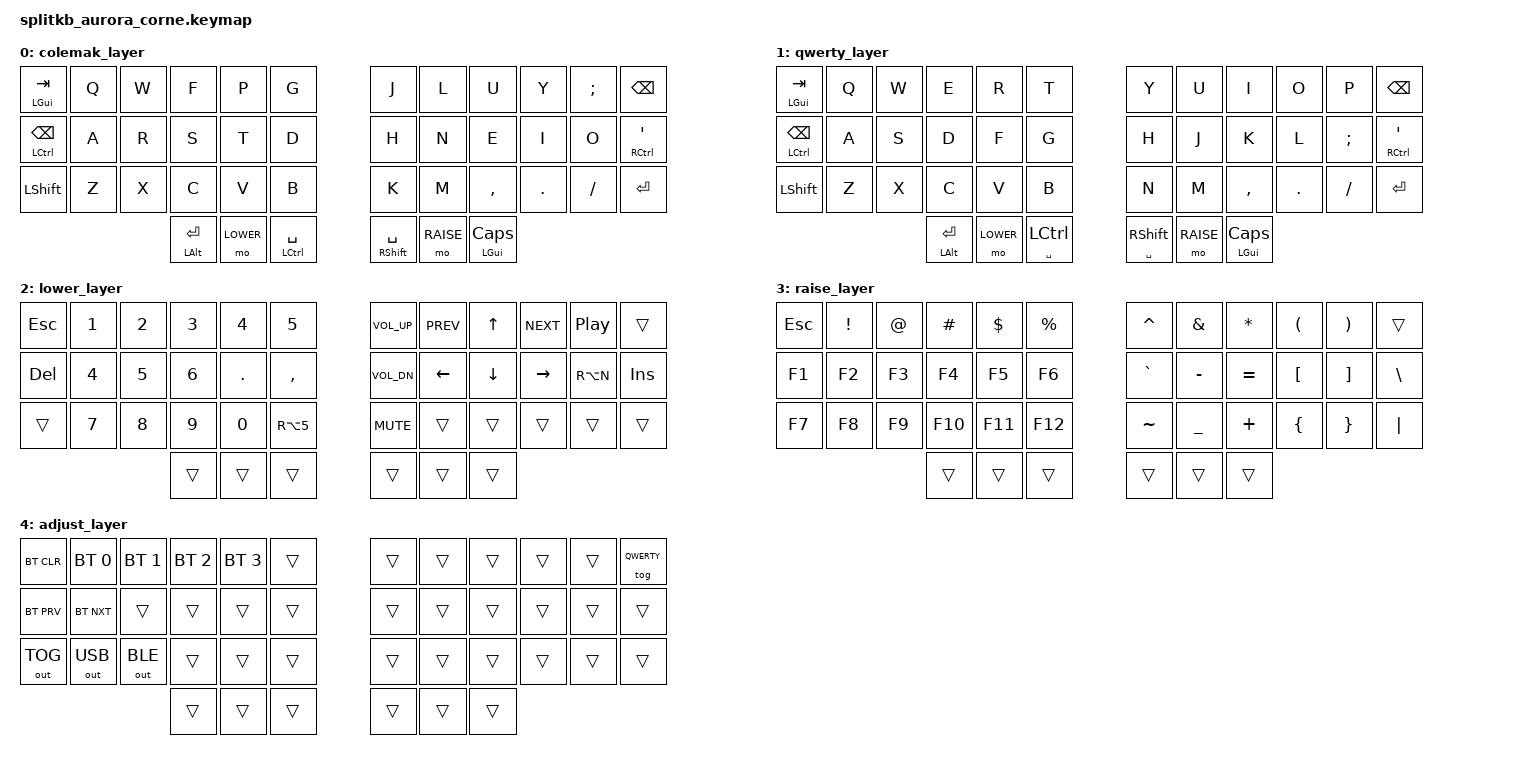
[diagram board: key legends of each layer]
/*
 * Copyright (c) 2020 The ZMK Contributors
 *
 * SPDX-License-Identifier: MIT
 *
 * Author: javioroz
 *
 */

#include <behaviors.dtsi>
#include <dt-bindings/zmk/keys.h>
#include <dt-bindings/zmk/bt.h>
#include <dt-bindings/zmk/outputs.h>
// #include <dt-bindings/zmk/ext_power.h>

#define ___ &trans
#define COLEMAK 0 
#define QWERTY 1
#define LOWER 2
#define RAISE 3
#define ADJUST 4

/ {
   behaviors {
        bhm: balanced_homerow_mods {
            compatible = "zmk,behavior-hold-tap";
            label = "HOMEROW_MODS";
            #binding-cells = <2>;
            tapping-term-ms = <500>;    // <---[[moderate duration]]
            quick-tap-ms = <0>;
            flavor = "balanced";        // <--- also "tap-preferred"
            bindings = <&kp>, <&kp>;
        };
    };

    conditional_layers {
        compatible = "zmk,conditional-layers";
        adjust_layer {
            if-layers = <LOWER RAISE>;
            then-layer = <ADJUST>;
        };
    };
    
    keymap {
        compatible = "zmk,keymap";
        
        colemak_layer {
            bindings = <
// ┌─────────┬─────────┬─────────┬─────────┬─────────┬─────────┐   ┌─────────┬─────────┬─────────┬─────────┬─────────┬─────────┐ 
// |   TAB   |    Q    |    W    |    F    |    P    |    G    |   |    J    |    L    |    U    |    Y    |    ;    |   BSPC  |
&mt LGUI TAB   &kp Q     &kp W     &kp F     &kp P     &kp G         &kp J     &kp L     &kp U     &kp Y     &kp SEMI   &kp BSPC
// ├─────────┼─────────┼─────────┼─────────┼─────────┼─────────┤   ├─────────┼─────────┼─────────┼─────────┼─────────┼─────────┤ 
// |  BSPC   |    A    |    R    |    S    |    T    |    D    |   |    H    |    N    |    E    |    I    |    O    |    '    |
&mt LCTRL BSPC &kp A     &kp R     &kp S     &kp T     &kp D         &kp H     &kp N     &kp E     &kp I     &kp O  &mt RCTRL SQT
// ├─────────┼─────────┼─────────┼─────────┼─────────┼─────────┤   ├─────────┼─────────┼─────────┼─────────┼─────────┼─────────┤ 
// |  LSHFT  |    Z    |    X    |    C    |    V    |    B    |   |    K    |    M    |    ,    |    .    |    /    | ENTER   |
   &kp LSHFT  &kp Z      &kp X     &kp C     &kp V     &kp B        &kp K     &kp M     &kp COMMA  &kp DOT   &kp FSLH   &kp  RET
// └─────────┴─────────┼─────────┴───┬─────┴──────┬──┴─────────┤   ├─────────┴──┬──────┴─────┬───┴─────────┼─────────┴─────────┘ 
                        &mt LALT RET  &mo LOWER  &bhm LCTRL SPACE  &mt RSHFT SPACE &mo RAISE  &mt LGUI CAPS
//                     └─────────────┴────────────┴────────────┘   └────────────┴────────────┴─────────────┘
            >;
        };
        
        qwerty_layer {
            bindings = <
// ┌─────────┬─────────┬─────────┬─────────┬─────────┬─────────┐   ┌─────────┬─────────┬─────────┬─────────┬─────────┬─────────┐ 
// |   TAB   |    Q    |    W    |    E    |    R    |    T    |   |    Y    |    U    |    I    |    O    |    P    |   BSPC  |
&mt LGUI TAB   &kp Q     &kp W     &kp E     &kp R     &kp T         &kp Y     &kp U     &kp I     &kp O     &kp P     &kp BSPC
// ├─────────┼─────────┼─────────┼─────────┼─────────┼─────────┤   ├─────────┼─────────┼─────────┼─────────┼─────────┼─────────┤ 
// |  BSPC   |    A    |    S    |    D    |    F    |    G    |   |    H    |    J    |    K    |    L    |    ;    |    '    |
&mt LCTRL BSPC &kp A     &kp S     &kp D     &kp F     &kp G         &kp H     &kp J     &kp K     &kp L     &kp SEMI &mt RCTRL SQT
// ├─────────┼─────────┼─────────┼─────────┼─────────┼─────────┤   ├─────────┼─────────┼─────────┼─────────┼─────────┼─────────┤ 
// |  LSHFT  |    Z    |    X    |    C    |    V    |    B    |   |    N    |    M    |    ,    |    .    |    /    | ENTER   |
   &kp LSHFT  &kp Z      &kp X     &kp C     &kp V     &kp B        &kp N     &kp M     &kp COMMA  &kp DOT   &kp FSLH   &kp  RET
// └─────────┴─────────┼─────────┴───┬─────┴──────┬──┴─────────┤   ├─────────┴──┬──────┴─────┬───┴─────────┼─────────┴─────────┘ 
                        &mt LALT RET  &mo LOWER  &bhm SPACE LCTRL  &mt SPACE RSHFT  &mo RAISE  &mt LGUI CAPS
//                     └─────────────┴────────────┴────────────┘   └────────────┴────────────┴─────────────┘
            >;
        };
        
        lower_layer {
            bindings = <
// ┌─────────┬─────────┬─────────┬─────────┬─────────┬─────────┐   ┌─────────┬─────────┬─────────┬─────────┬─────────┬─────────┐ 
// |   ESC   |    1    |    2    |    3    | MS_BTN1 | MS_BTN1 |   |  Vol+   |   Prev  |    ↑    |   Next  | PlayPaus|         |
    &kp ESC   &kp N1    &kp N2    &kp N3    &kp N4    &kp N5      &kp C_VOL_UP &kp C_PREV &kp UP &kp C_NEXT  &kp C_PP     ___  
// ├─────────┼─────────┼─────────┼─────────┼─────────┼─────────┤   ├─────────┼─────────┼─────────┼─────────┼─────────┼─────────┤ 
// |   DEL   |    4    |    5    |    6    |    .    |    ,    |   |  Vol-   |    ←    |    ↓    |    →    |    Ñ    |  INSERT |
    &kp DEL   &kp N4    &kp N5    &kp N6    &kp DOT   &kp COMMA   &kp C_VOL_DN &kp LEFT  &kp DOWN  &kp RIGHT &kp RA(N)  &kp INS 
// ├─────────┼─────────┼─────────┼─────────┼─────────┼─────────┤   ├─────────┼─────────┼─────────┼─────────┼─────────┼─────────┤ 
// |         |    7    |    8    |    9    |    0    |    €    |   |  Mute   | MOUSE ← | MOUSE ↓ | MOUSE ↑ | MOUSE → |         |
       ___    &kp N7   &kp N8    &kp N9    &kp N0     &kp RA(N5)   &kp C_MUTE   ___      ___        ___       ___        ___ 
// └─────────┴─────────┼─────────┴───┬─────┴──────┬──┴─────────┤   ├─────────┴──┬──────┴─────┬───┴─────────┼─────────┴─────────┘ 
                             ___          ___         ___                ___          ___         ___    
//                     └─────────────┴────────────┴────────────┘   └────────────┴────────────┴─────────────┘
            >;
        };

        raise_layer {
            bindings = <
// ┌─────────┬─────────┬─────────┬─────────┬─────────┬─────────┐   ┌─────────┬─────────┬─────────┬─────────┬─────────┬─────────┐ 
// |   ESC   |    !    |    @    |    #    |    $    |    %    |   |    ^    |    &    |    *    |    (    |    )    |         |
    &kp ESC   &kp EXCL  &kp AT   &kp HASH   &kp DLLR  &kp PRCNT     &kp CARET &kp AMPS  &kp ASTRK &kp LPAR  &kp RPAR    ___   
// ├─────────┼─────────┼─────────┼─────────┼─────────┼─────────┤   ├─────────┼─────────┼─────────┼─────────┼─────────┼─────────┤ 
// |    F1   |   F2    |   F3    |   F4    |   F5    |   F6    |   |    `    |    -    |    =    |    [    |    ]    |    \    |
     &kp F1    &kp F2    &kp F3    &kp F4    &kp F5    &kp F6       &kp GRAVE &kp MINUS &kp EQUAL &kp LBKT  &kp RBKT  &kp BSLH
// ├─────────┼─────────┼─────────┼─────────┼─────────┼─────────┤   ├─────────┼─────────┼─────────┼─────────┼─────────┼─────────┤ 
// |    F7   |   F8    |   F9    |   F10   |   F11   |   F12   |   |    ~    |    _    |    +    |    {    |    }    |   "|"   |
     &kp F7    &kp F8    &kp F9    &kp F10   &kp F11   &kp F12      &kp TILDE &kp UNDER &kp PLUS  &kp LBRC  &kp RBRC   &kp PIPE
// └─────────┴─────────┼─────────┴───┬─────┴──────┬──┴─────────┤   ├─────────┴──┬──────┴─────┬───┴─────────┼─────────┴─────────┘ 
                             ___          ___         ___                ___          ___         ___    
//                     └─────────────┴────────────┴────────────┘   └────────────┴────────────┴─────────────┘
            >;
        };
        
        adjust_layer {
            bindings = <
// ┌─────────┬─────────┬─────────┬─────────┬─────────┬─────────┐   ┌─────────┬─────────┬─────────┬─────────┬─────────┬─────────┐ 
// |  BTCLR  |  BT1    |  BT2    |  BT3    |  BT4    |         |   |         |         | MOUSEUP |         |         |TO QWERTY|
&bt BT_CLR &bt BT_SEL 0 &bt BT_SEL 1 &bt BT_SEL 2 &bt BT_SEL 3 ___     ___       ___       ___       ___       ___    &tog QWERTY  
// ├─────────┼─────────┼─────────┼─────────┼─────────┼─────────┤   ├─────────┼─────────┼─────────┼─────────┼─────────┼─────────┤ 
// | BT_PRV  | BT_NXT  | MS_BTN1 |  WH_UP  | MS_BTN2 |         |   |         | MOUSELE | MOUSEDO | MOUSERI |         |   ON    | &ext_power EP_ON
 &bt BT_PRV  &bt BT_NXT    ___       ___       ___       ___           ___       ___       ___       ___       ___      ___  
// ├─────────┼─────────┼─────────┼─────────┼─────────┼─────────┤   ├─────────┼─────────┼─────────┼─────────┼─────────┼─────────┤ 
// | OUT_TOG | OUT_USB | OUT_BLE |  WH_DO  |         |         |   |         |         |         |         |         |    OFF  | &ext_power EP_OFF 
&out OUT_TOG &out OUT_USB &out OUT_BLE  ___     ___       ___           ___       ___       ___       ___       ___      ___   
// └─────────┴─────────┼─────────┴───┬─────┴──────┬──┴─────────┤   ├─────────┴──┬──────┴─────┬───┴─────────┼─────────┴─────────┘ 
                             ___          ___         ___                ___          ___         ___    
//                     └─────────────┴────────────┴────────────┘   └────────────┴────────────┴─────────────┘
            >;
        };   
               
    }; 
    // ------ keymap bracket ends
}; 
// ------- main bracket ends

// ------------------- HELP NOTES -----------------------------------------------------------
//
// &kp: key pressed (used for normal keys)
// &bt: bluetooth function
// &mo: momentary layout change (only while key is holded)
// &ht: hold-tap will output the 1st key if it's held for a while, and output the 2nd when it's tapped quickly
// &mt: modifier if hold or key if tap
// &tog: switches to layer number and we keep staying on that new label
// 
// Letter frequency:
// EN: ETAOINSHRDLCUMWFGYPBVKJXQZ
// ES: AEOSRNILDUTCMPBGVYQHFJZÑXWK
//

